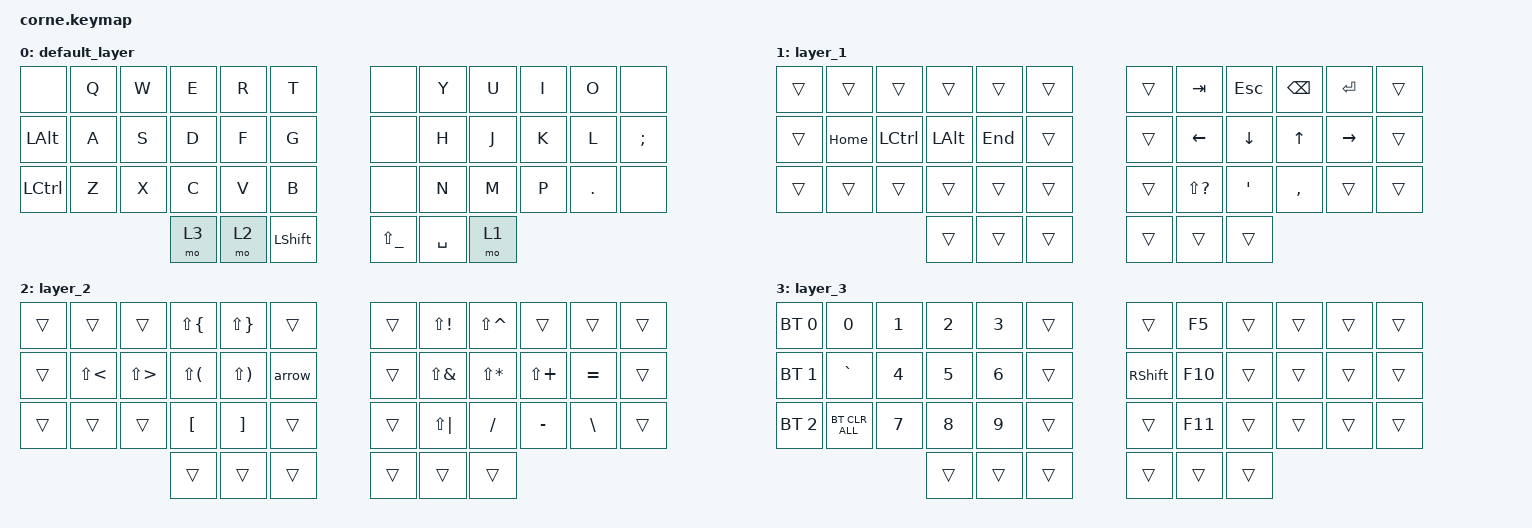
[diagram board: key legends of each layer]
/*
 * Copyright (c) 2020 The ZMK Contributors
 *
 * SPDX-License-Identifier: MIT
 */

#include <behaviors.dtsi>
#include <dt-bindings/zmk/bt.h>
#include <dt-bindings/zmk/keys.h>

/ {
    macros {
        arrow: arrow {
            compatible = "zmk,behavior-macro";
            #binding-cells = <0>;
            bindings = <&kp MINUS &kp GREATER_THAN>;
            label = "ARROW";
        };
    };

    keymap {
        compatible = "zmk,keymap";

        default_layer {
            // -----------------------------------------------------------------------------------------
            // |  TAB |  Q  |  W  |  E  |  R  |  T  |   |  Y  |  U   |  I  |  O  |  P  | BKSP |
            // | CTRL |  A  |  S  |  D  |  F  |  G  |   |  H  |  J   |  K  |  L  |  ;  |  '   |
            // | SHFT |  Z  |  X  |  C  |  V  |  B  |   |  N  |  M   |  ,  |  .  |  /  | ESC  |
            //                    | GUI | LWR | SPC |   | ENT | RSE  | ALT |

            bindings = <
&none      &kp Q  &kp W  &kp E  &kp R  &kp T        &none          &kp Y      &kp U  &kp I  &kp O    &none
&kp LALT   &kp A  &kp S  &kp D  &kp F  &kp G        &none          &kp H      &kp J  &kp K  &kp L    &kp SEMI
&kp LCTRL  &kp Z  &kp X  &kp C  &kp V  &kp B        &none          &kp N      &kp M  &kp P  &kp DOT  &none
                         &mo 3  &mo 2  &kp LSHFT    &kp LS(UNDER)  &kp SPACE  &mo 1
            >;
        };

        layer_1 {
            bindings = <
&trans  &trans    &trans     &trans    &trans   &trans    &trans  &kp TAB        &kp ESC   &kp BSPC   &kp RET    &trans
&trans  &kp HOME  &kp LCTRL  &kp LALT  &kp END  &trans    &trans  &kp LEFT       &kp DOWN  &kp UP     &kp RIGHT  &trans
&trans  &trans    &trans     &trans    &trans   &trans    &trans  &kp LS(QMARK)  &kp SQT   &kp COMMA  &trans     &trans
                             &trans    &trans   &trans    &trans  &trans         &trans
            >;
        };

        layer_2 {
            bindings = <
&trans  &trans      &trans      &kp LS(LBRC)  &kp LS(RBRC)  &trans    &trans  &kp LS(EXCL)  &kp LS(CARET)  &trans        &trans     &trans
&trans  &kp LS(LT)  &kp LS(GT)  &kp LS(LPAR)  &kp LS(RPAR)  &arrow    &trans  &kp LS(AMPS)  &kp LS(STAR)   &kp LS(PLUS)  &kp EQUAL  &trans
&trans  &trans      &trans      &kp LBKT      &kp RBKT      &trans    &trans  &kp LS(PIPE)  &kp FSLH       &kp MINUS     &kp BSLH   &trans
                                &trans        &trans        &trans    &trans  &trans        &trans
            >;
        };

        layer_3 {
            bindings = <
&bt BT_SEL 0  &kp N0          &kp N1  &kp N2  &kp N3  &trans    &trans     &kp F5   &trans  &trans  &trans  &trans
&bt BT_SEL 1  &kp GRAVE       &kp N4  &kp N5  &kp N6  &trans    &kp RSHFT  &kp F10  &trans  &trans  &trans  &trans
&bt BT_SEL 2  &bt BT_CLR_ALL  &kp N7  &kp N8  &kp N9  &trans    &trans     &kp F11  &trans  &trans  &trans  &trans
                                      &trans  &trans  &trans    &trans     &trans   &trans
            >;
        };
    };
};
